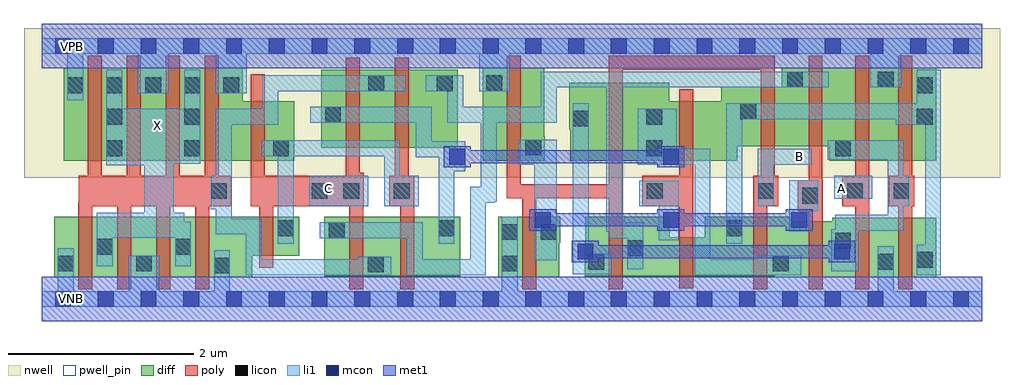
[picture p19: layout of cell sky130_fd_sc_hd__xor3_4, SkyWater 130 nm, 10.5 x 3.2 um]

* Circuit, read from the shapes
.subckt sky130_fd_sc_hd__xor3_4 A B C VGND VPB VPWR X
XM1 X n1 VGND VSUBS sky130_fd_pr__nfet_01v8 w=0.65 l=0.15 m=4
XM2 n2 C VGND VSUBS sky130_fd_pr__nfet_01v8 w=0.42 l=0.15
XM3 n1 C n3 VSUBS sky130_fd_pr__nfet_01v8 w=0.64 l=0.15
XM4 n4 n2 n1 VSUBS sky130_fd_pr__nfet_01v8 w=0.64 l=0.15
XM5 n5 B VGND VSUBS sky130_fd_pr__nfet_01v8 w=0.65 l=0.15
XM6 n3 B n6 VSUBS sky130_fd_pr__nfet_01v8 w=0.64 l=0.15
XM7 n7 n5 n3 VSUBS sky130_fd_pr__nfet_01v8 w=0.42 l=0.15
XM8 n4 B n7 VSUBS sky130_fd_pr__nfet_01v8 w=0.64 l=0.15
XM9 n6 n5 n4 VSUBS sky130_fd_pr__nfet_01v8 w=0.6 l=0.15
XM10 VGND A n6 VSUBS sky130_fd_pr__nfet_01v8 w=0.64 l=0.15
XM11 n7 n6 VGND VSUBS sky130_fd_pr__nfet_01v8 w=0.64 l=0.15
XM12 X n1 VPWR VPB sky130_fd_pr__pfet_01v8 w=1 l=0.15 m=4
XM13 n2 C VPWR VPB sky130_fd_pr__pfet_01v8 w=0.64 l=0.15
XM14 n1 C n4 VPB sky130_fd_pr__pfet_01v8 w=0.84 l=0.15
XM15 n3 n2 n1 VPB sky130_fd_pr__pfet_01v8 w=0.84 l=0.15
XM16 n5 B VPWR VPB sky130_fd_pr__pfet_01v8 w=1 l=0.15
XM17 n4 B n6 VPB sky130_fd_pr__pfet_01v8 w=0.84 l=0.15
XM18 n7 n5 n4 VPB sky130_fd_pr__pfet_01v8 w=0.64 l=0.15
XM19 n3 B n7 VPB sky130_fd_pr__pfet_01v8 w=0.64 l=0.15
XM20 n6 n5 n3 VPB sky130_fd_pr__pfet_01v8 w=0.84 l=0.15
XM21 VPWR A n6 VPB sky130_fd_pr__pfet_01v8 w=1 l=0.15
XM22 n7 n6 VPWR VPB sky130_fd_pr__pfet_01v8 w=1 l=0.15
.ends

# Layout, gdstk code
import gdstk
lib = gdstk.Library(unit=1e-6, precision=1e-09)
def R(c, l, rs):  # rectangles x0, y0, x1, y1
    for r in rs: c.add(gdstk.rectangle(r[:2], r[2:], *l))
def A(c, l, x, y, w, h, nx, ny, dx, dy):  # array of equal rectangles
    R(c, l, [(x+i*dx, y+j*dy, x+i*dx+w, y+j*dy+h) for i in range(nx) for j in range(ny)])
def P(c, l, *ps):  # polygons
    for p in ps: c.add(gdstk.Polygon(p, *l))
nwell = (64, 20)
diff = (65, 20)
poly = (66, 20)
licon = (66, 44)
li1 = (67, 20)
mcon = (67, 44)
met1 = (68, 20)
pwell_pin = (122, 16)

sky130_fd_sc_hd__xor3_4 = lib.new_cell('sky130_fd_sc_hd__xor3_4')
R(sky130_fd_sc_hd__xor3_4, nwell, [(-0.19,1.305,10.31,2.91)])
R(sky130_fd_sc_hd__xor3_4, diff, [(3.04,0.245,4.505,0.885), (3.01,1.625,4.475,2.465)])
P(sky130_fd_sc_hd__xor3_4, diff, [(9.625,2.485),(7.96,2.485),(7.96,2.285),(7.31,2.285),(7.31,2.125),(6.75,2.125),(6.75,2.325),(5.675,2.325),(5.675,1.825),(5.685,1.825),(5.685,1.485),(7.485,1.485),(7.485,1.645),(8.475,1.645),(8.475,1.485),(9.625,1.485)],
  [(9.625,0.875),(8.505,0.875),(8.505,0.835),(8.055,0.835),(8.055,0.885),(7.135,0.885),(7.135,0.665),(6.755,0.665),(6.755,0.885),(5.85,0.885),(5.85,0.525),(5.84,0.525),(5.84,0.245),(7.89,0.245),(7.89,0.235),(9.625,0.235)],
  [(5.58,0.885),(4.91,0.885),(4.91,0.235),(5.57,0.235),(5.57,0.605),(5.58,0.605)],
  [(5.415,1.745),(5.405,1.745),(5.405,2.485),(4.745,2.485),(4.745,1.485),(5.415,1.485)],
  [(2.77,0.885),(0.135,0.885),(0.135,0.235),(2.265,0.235),(2.265,0.465),(2.77,0.465)],
  [(2.72,2.125),(2.165,2.125),(2.165,2.485),(0.235,2.485),(0.235,1.485),(2.72,1.485)])
P(sky130_fd_sc_hd__xor3_4, poly, [(8.405,1.28),(8.4,1.28),(8.4,2.615),(8.25,2.615),(8.25,1.275),(8.135,1.275),(8.135,0.945),(8.255,0.945),(8.255,0.105),(8.405,0.105)],
  [(7.925,1.325),(7.885,1.325),(7.885,2.615),(6.1,2.615),(6.1,1.235),(5.155,1.235),(5.155,2.615),(5.005,2.615),(5.005,1.085),(5.17,1.085),(5.17,0.105),(5.32,0.105),(5.32,1.085),(6.1,1.085),(6.1,0.105),(6.25,0.105),(6.25,2.465),(7.735,2.465),(7.735,1.325),(7.655,1.325),(7.655,0.105),(7.805,0.105),(7.805,0.995),(7.925,0.995)],
  [(2.04,1.325),(1.905,1.325),(1.905,2.615),(1.755,2.615),(1.755,1.325),(1.485,1.325),(1.485,2.615),(1.335,2.615),(1.335,1.325),(1.065,1.325),(1.065,2.615),(0.915,2.615),(0.915,1.325),(0.645,1.325),(0.645,2.615),(0.495,2.615),(0.495,1.325),(0.4,1.325),(0.4,1.035),(0.395,1.035),(0.395,0.105),(0.545,0.105),(0.545,0.995),(0.815,0.995),(0.815,0.105),(0.965,0.105),(0.965,0.995),(1.235,0.995),(1.235,0.105),(1.385,0.105),(1.385,0.995),(1.655,0.995),(1.655,0.105),(1.805,0.105),(1.805,0.995),(2.04,0.995)],
  [(7.01,2.255),(6.86,2.255),(6.86,1.325),(6.46,1.325),(6.46,0.995),(6.86,0.995),(6.86,0.115),(7.01,0.115)],
  [(4.01,1.325),(3.95,1.325),(3.95,2.595),(3.8,2.595),(3.8,1.325),(3.74,1.325),(3.74,0.995),(3.86,0.995),(3.86,0.105),(4.01,0.105)],
  [(3.465,1.355),(3.42,1.355),(3.42,2.595),(3.27,2.595),(3.27,1.325),(2.4,1.325),(2.4,2.415),(2.25,2.415),(2.25,0.995),(2.34,0.995),(2.34,0.335),(2.49,0.335),(2.49,0.995),(3.31,0.995),(3.31,0.105),(3.46,0.105),(3.46,0.985),(3.465,0.985)],
  [(9.385,1.325),(9.365,1.325),(9.365,2.615),(9.215,2.615),(9.215,1.325),(9.115,1.325),(9.115,0.995),(9.215,0.995),(9.215,0.105),(9.365,0.105),(9.365,0.995),(9.385,0.995)],
  [(8.905,2.615),(8.755,2.615),(8.755,1.325),(8.615,1.325),(8.615,0.995),(8.755,0.995),(8.755,0.105),(8.905,0.105)])
A(sky130_fd_sc_hd__xor3_4, licon, 0.275, 2.215, 0.17, 0.17, 5, 1, 0.42, 0)
R(sky130_fd_sc_hd__xor3_4, licon, [(1.855,0.275,2.025,0.445), (3.51,0.285,3.68,0.455), (0.175,0.295,0.345,0.465), (1.015,0.295,1.185,0.465), (4.95,0.295,5.12,0.465), (7.865,0.295,8.035,0.465), (5.88,0.315,6.05,0.485), (8.995,0.315,9.165,0.485), (9.415,0.335,9.585,0.505), (6.3,0.46,6.47,0.63), (0.595,0.475,0.765,0.645), (1.435,0.475,1.605,0.645), (8.535,0.54,8.705,0.71), (4.95,0.635,5.12,0.805), (5.37,0.635,5.54,0.805), (3.09,0.655,3.26,0.825), (2.54,0.675,2.71,0.845), (4.27,0.675,4.44,0.845), (7.365,0.675,7.535,0.845), (8.185,1.025,8.355,1.195), (1.82,1.075,1.99,1.245), (2.905,1.075,3.075,1.245), (3.245,1.075,3.415,1.245), (3.79,1.075,3.96,1.245), (6.51,1.075,6.68,1.245), (7.705,1.075,7.875,1.245), (8.665,1.075,8.835,1.245), (9.165,1.075,9.335,1.245), (0.695,1.535,0.865,1.705), (1.535,1.535,1.705,1.705), (2.49,1.535,2.66,1.705), (6.505,1.535,6.675,1.705), (8.535,1.535,8.705,1.705), (5.205,1.545,5.375,1.715), (5.715,1.855,5.885,2.025), (0.695,1.875,0.865,2.045), (1.535,1.875,1.705,2.045), (6.505,1.875,6.675,2.045), (9.415,1.875,9.585,2.045), (3.05,1.895,3.22,2.065), (7.515,1.935,7.685,2.105), (9.415,2.215,9.585,2.385), (3.515,2.235,3.685,2.405), (4.25,2.235,4.42,2.405), (4.785,2.235,4.955,2.405), (8.02,2.275,8.19,2.445), (8.995,2.275,9.165,2.445)])
R(sky130_fd_sc_hd__xor3_4, li1, [(2.88,0.995,3.515,1.325), (8.525,1.075,8.935,1.325)])
P(sky130_fd_sc_hd__xor3_4, li1, [(3.915,2.405),(2.375,2.405),(2.375,2.045),(1.875,2.045),(1.875,1.325),(1.82,1.325),(1.82,0.965),(1.875,0.965),(1.875,0.695),(2.195,0.695),(2.195,0.255),(3.76,0.255),(3.76,0.455),(3.41,0.455),(3.41,0.425),(2.365,0.425),(2.365,0.865),(2.045,0.865),(2.045,1.875),(2.545,1.875),(2.545,2.235),(3.915,2.235)],
  [(9.335,1.325),(9.275,1.325),(9.275,1.705),(8.455,1.705),(8.455,1.495),(9.105,1.495),(9.105,0.905),(8.535,0.905),(8.535,0.75),(8.495,0.75),(8.495,0.295),(8.785,0.295),(8.785,0.735),(9.275,0.735),(9.275,0.995),(9.335,0.995)],
  [(1.705,2.465),(1.535,2.465),(1.535,2.045),(0.865,2.045),(0.865,2.465),(0.695,2.465),(0.695,1.44),(1.105,1.44),(1.105,0.925),(0.595,0.925),(0.595,0.35),(0.765,0.35),(0.765,0.66),(1.435,0.66),(1.435,0.35),(1.605,0.35),(1.605,0.83),(1.535,0.83),(1.535,0.925),(1.42,0.925),(1.42,1.455),(1.705,1.455)],
  [(10.12,2.805),(0,2.805),(0,2.635),(0.275,2.635),(0.275,2.135),(0.445,2.135),(0.445,2.635),(1.035,2.635),(1.035,2.215),(1.365,2.215),(1.365,2.635),(1.875,2.635),(1.875,2.215),(2.205,2.215),(2.205,2.635),(4.705,2.635),(4.705,2.235),(5.035,2.235),(5.035,2.635),(8.915,2.635),(8.915,2.275),(9.245,2.275),(9.245,2.635),(10.12,2.635)],
  [(8.465,2.445),(5.37,2.445),(5.37,2.065),(4.535,2.065),(4.535,2.405),(4.13,2.405),(4.13,2.235),(4.365,2.235),(4.365,1.895),(4.725,1.895),(4.725,1.205),(4.61,1.205),(4.61,0.425),(4.1,0.425),(4.1,0.825),(2.99,0.825),(2.99,0.655),(3.93,0.655),(3.93,0.255),(4.78,0.255),(4.78,1.035),(4.865,1.035),(4.865,1.04),(4.88,1.04),(4.88,1.045),(4.89,1.045),(4.89,1.05),(4.895,1.05),(4.895,1.895),(5.54,1.895),(5.54,2.275),(6.075,2.275),(6.075,0.72),(6.105,0.72),(6.105,0.655),(6.3,0.655),(6.3,0.32),(6.47,0.32),(6.47,0.825),(6.275,0.825),(6.275,0.89),(6.245,0.89),(6.245,2.275),(8.465,2.275)],
  [(8.355,1.275),(8.045,1.275),(8.045,0.73),(8.25,0.73),(8.25,0.945),(8.355,0.945)],
  [(8.285,1.615),(7.705,1.615),(7.705,0.995),(7.875,0.995),(7.875,1.445),(8.285,1.445)],
  [(8.17,0.465),(7.705,0.465),(7.705,0.425),(7.195,0.425),(7.195,1.615),(6.83,1.615),(6.83,2.045),(6.415,2.045),(6.415,1.445),(7.025,1.445),(7.025,0.255),(8.17,0.255)],
  [(6.855,1.27),(6.43,1.27),(6.43,0.995),(6.64,0.995),(6.64,0.63),(6.855,0.63)],
  [(6.13,0.485),(5.935,0.485),(5.935,0.595),(5.885,0.595),(5.885,2.105),(5.715,2.105),(5.715,0.265),(6.13,0.265)],
  [(5.54,1.715),(5.125,1.715),(5.125,1.445),(5.3,1.445),(5.3,0.415),(5.54,0.415)],
  [(4.555,1.695),(4.195,1.695),(4.195,2.065),(2.89,2.065),(2.89,1.895),(4.025,1.895),(4.025,1.525),(4.27,1.525),(4.27,0.595),(4.44,0.595),(4.44,1.375),(4.555,1.375)],
  [(4.055,1.325),(3.855,1.325),(3.855,1.705),(2.37,1.705),(2.37,1.535),(2.54,1.535),(2.54,0.595),(2.71,0.595),(2.71,1.535),(3.685,1.535),(3.685,0.995),(4.055,0.995)],
  [(10.12,0.085),(9.165,0.085),(9.165,0.565),(8.995,0.565),(8.995,0.085),(5.12,0.085),(5.12,0.885),(4.95,0.885),(4.95,0.085),(2.025,0.085),(2.025,0.525),(1.855,0.525),(1.855,0.085),(1.265,0.085),(1.265,0.465),(0.935,0.465),(0.935,0.085),(0.345,0.085),(0.345,0.545),(0.175,0.545),(0.175,0.085),(0,0.085),(0,-0.085),(10.12,-0.085)],
  [(9.675,2.465),(9.415,2.465),(9.415,2.105),(7.365,2.105),(7.365,0.595),(7.535,0.595),(7.535,1.935),(9.19,1.935),(9.19,1.875),(9.505,1.875),(9.505,0.585),(9.415,0.585),(9.415,0.255),(9.675,0.255)])
A(sky130_fd_sc_hd__xor3_4, mcon, 0.145, -0.085, 0.17, 0.17, 22, 2, 0.46, 2.72)
A(sky130_fd_sc_hd__xor3_4, mcon, 5.305, 0.765, 0.17, 0.17, 3, 1, 1.38, 0)
R(sky130_fd_sc_hd__xor3_4, mcon, [(5.765,0.425,5.935,0.595), (8.525,0.425,8.695,0.595), (4.385,1.445,4.555,1.615), (6.685,1.445,6.855,1.615)])
P(sky130_fd_sc_hd__xor3_4, met1, [(8.755,0.625),(8.465,0.625),(8.465,0.58),(5.995,0.58),(5.995,0.625),(5.705,0.625),(5.705,0.395),(5.995,0.395),(5.995,0.44),(8.465,0.44),(8.465,0.395),(8.755,0.395)],
  [(8.295,0.965),(8.005,0.965),(8.005,0.92),(6.915,0.92),(6.915,0.965),(6.625,0.965),(6.625,0.92),(5.535,0.92),(5.535,0.965),(5.245,0.965),(5.245,0.735),(5.535,0.735),(5.535,0.78),(6.625,0.78),(6.625,0.735),(6.915,0.735),(6.915,0.78),(8.005,0.78),(8.005,0.735),(8.295,0.735)],
  [(6.915,1.645),(6.625,1.645),(6.625,1.6),(4.615,1.6),(4.615,1.645),(4.325,1.645),(4.325,1.415),(4.615,1.415),(4.615,1.46),(6.625,1.46),(6.625,1.415),(6.915,1.415)])
R(sky130_fd_sc_hd__xor3_4, pwell_pin, [(0.235,-0.085,0.405,0.085)])
sky130_fd_sc_hd__xor3_4.add(gdstk.FlexPath([(0,2.72),(10.12,2.72)], 0.48, ends="flush", simple_path=True, layer=68, datatype=20))  # met1
sky130_fd_sc_hd__xor3_4.add(gdstk.FlexPath([(0,0),(10.12,0)], 0.48, ends="flush", simple_path=True, layer=68, datatype=20))  # met1
sky130_fd_sc_hd__xor3_4.add(gdstk.Label('X', (1.25,1.87), layer=67, texttype=5))
sky130_fd_sc_hd__xor3_4.add(gdstk.Label('C', (3.09,1.19), layer=67, texttype=5))
sky130_fd_sc_hd__xor3_4.add(gdstk.Label('B', (8.15,1.53), layer=67, texttype=5))
sky130_fd_sc_hd__xor3_4.add(gdstk.Label('A', (8.61,1.19), layer=67, texttype=5))
sky130_fd_sc_hd__xor3_4.add(gdstk.Label('VNB', (0.32,0), layer=122, texttype=16))
sky130_fd_sc_hd__xor3_4.add(gdstk.Label('VPB', (0.33,2.72), layer=64, texttype=5))
sky130_fd_sc_hd__xor3_4.add(gdstk.Label('VGND', (0.22,0), layer=68, texttype=5))
sky130_fd_sc_hd__xor3_4.add(gdstk.Label('VPWR', (0.23,2.72), layer=68, texttype=5))

lib.write_gds('sky130_fd_sc_hd__xor3_4.gds')
